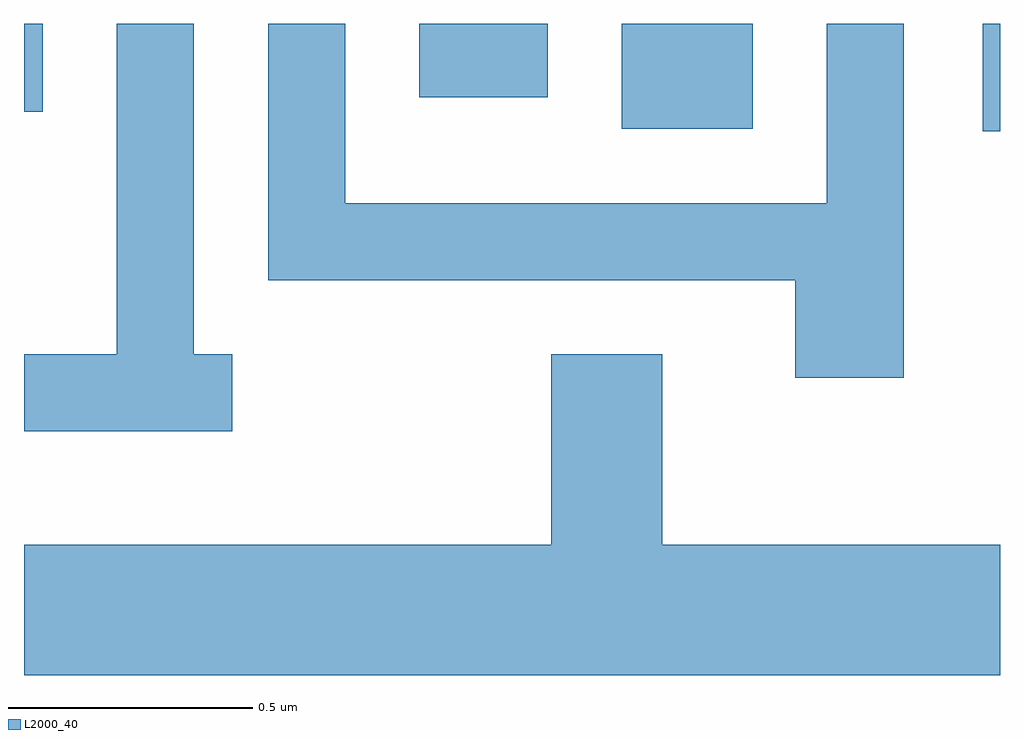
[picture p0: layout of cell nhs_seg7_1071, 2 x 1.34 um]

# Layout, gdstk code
import gdstk
lib = gdstk.Library(unit=1e-6, precision=1e-09)
def R(c, l, rs):  # rectangles x0, y0, x1, y1
    for r in rs: c.add(gdstk.rectangle(r[:2], r[2:], *l))
def P(c, l, *ps):  # polygons
    for p in ps: c.add(gdstk.Polygon(p, *l))
L2000_40 = (2000, 40)

nhs_seg7_1071 = lib.new_cell('nhs_seg7_1071')
R(nhs_seg7_1071, L2000_40, [(194.576,1782.031,194.611,1782.252), (193.836,1782.036,194.104,1782.252), (192.611,1782.071,192.649,1782.252), (193.421,1782.101,193.684,1782.252)])
P(nhs_seg7_1071, L2000_40, [(193.038,1781.574),(192.959,1781.574),(192.959,1782.252),(192.801,1782.252),(192.801,1781.574),(192.611,1781.574),(192.611,1781.416),(193.038,1781.416)],
  [(194.414,1782.252),(194.256,1782.252),(194.256,1781.884),(193.269,1781.884),(193.269,1782.252),(193.111,1782.252),(193.111,1781.726),(194.191,1781.726),(194.191,1781.526),(194.414,1781.526)],
  [(194.611,1781.184),(193.919,1781.184),(193.919,1781.574),(193.691,1781.574),(193.691,1781.184),(192.611,1781.184),(192.611,1780.916),(194.611,1780.916)])

lib.write_gds('nhs_seg7_1071.gds')
